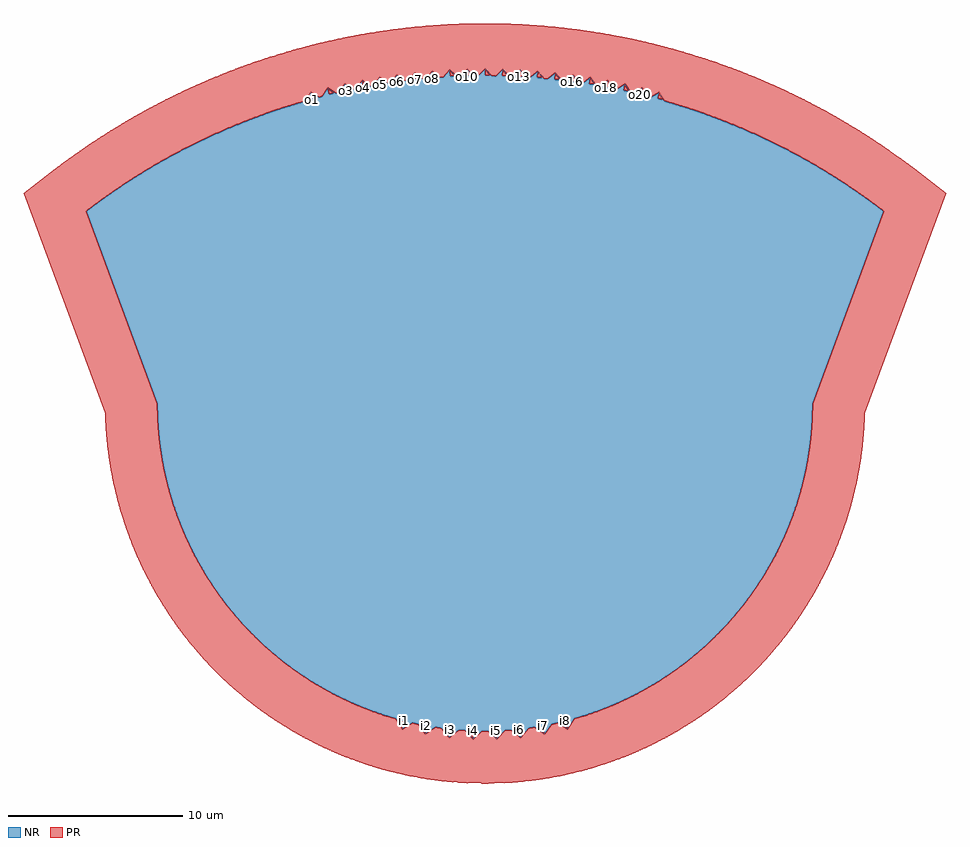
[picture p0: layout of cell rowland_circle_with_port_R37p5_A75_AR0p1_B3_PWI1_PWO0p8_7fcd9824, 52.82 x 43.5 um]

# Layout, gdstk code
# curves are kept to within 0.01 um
import gdstk
lib = gdstk.Library(unit=1e-6, precision=1e-09)
def P(c, l, *ps):  # polygons
    for p in ps: c.add(gdstk.Polygon(p, *l))
PR = (60, 0)
NR = (61, 0)

rowland_circle_with_port = lib.new_cell('rowland_circle_with_port_R37p5_A75_AR0p1_B3_PWI1_PWO0p8_7fcd9824')
P(rowland_circle_with_port, PR, [(4.732,0.175),(4.275,0.451),(4.638,0.543)],
  [(-3.397,-0.115),(-3.699,0.326),(-3.33,0.259)],
  [(0.683,-0.406),(0.295,-0.04),(0.669,-0.026)],
  [(-3.996,37.323),(-4.029,37.626),(-3.698,37.355)],
  [(-0.683,-0.406),(-1.044,-0.013),(-0.669,-0.026)],
  [(-4.732,0.175),(-5.001,0.636),(-4.638,0.543)],
  [(1.301,37.515),(1.001,37.523),(1.009,37.827)],
  [(3.397,-0.115),(2.961,0.193),(3.33,0.259)],
  [(2.045,-0.309),(1.632,0.029),(2.005,0.069)],
  [(-2.045,-0.309),(-2.378,0.109),(-2.005,0.069)],
  [(2.301,37.467),(2.001,37.483),(2.017,37.787)],
  [(-9.892,36.21),(-9.972,36.503),(-9.602,36.289)],
  [(10.181,36.131),(9.892,36.21),(9.972,36.503)],
  [(-8.923,36.461),(-8.995,36.756),(-8.631,36.532)],
  [(-6.966,36.885),(-7.023,37.183),(-6.672,36.94)],
  [(9.214,36.389),(8.923,36.461),(8.995,36.756)],
  [(-2.001,37.483),(-2.017,37.787),(-1.701,37.499)],
  [(-7.947,36.686),(-8.012,36.983),(-7.654,36.749)],
  [(8.241,36.622),(7.947,36.686),(8.012,36.983)],
  [(7.261,36.829),(6.966,36.885),(7.023,37.183)],
  [(-5.98,37.057),(-6.029,37.357),(-5.684,37.105)],
  [(6.277,37.009),(5.98,37.057),(6.029,37.357)],
  [(-4.99,37.203),(-5.031,37.505),(-4.693,37.243)],
  [(5.288,37.164),(4.99,37.203),(5.031,37.505)],
  [(4.295,37.291),(3.996,37.323),(4.029,37.626)],
  [(-3,37.417),(-3.024,37.72),(-2.701,37.441)],
  [(3.299,37.393),(3,37.417),(3.024,37.72)],
  [(-1.001,37.523),(-1.009,37.827),(-0.701,37.531)],
  [(0,37.537),(0,37.841),(0.3,37.537)],
  [(-0.176,-3),(-1.424,-2.954),(-2.476,-2.859),(-3.725,-2.679),(-4.978,-2.424),(-6.224,-2.092),(-7.339,-1.725),(-8.51,-1.267),(-9.679,-0.729),(-10.759,-0.153),(-11.752,0.448),(-12.853,1.202),(-13.629,1.798),(-14.6,2.628),(-15.486,3.478),(-16.32,4.371),(-17.135,5.354),(-17.722,6.14),(-18.253,6.922),(-18.674,7.598),(-19.114,8.369),(-19.479,9.071),(-19.836,9.827),(-20.155,10.572),(-20.475,11.411),(-20.771,12.295),(-21,13.085),(-21.174,13.772),(-21.361,14.651),(-21.526,15.631),(-21.62,16.37),(-21.699,17.246),(-21.744,18.194),(-26.41,30.781),(-24.383,32.338),(-23.285,33.138),(-21.886,34.078),(-20.556,34.896),(-19.746,35.361),(-19.001,35.766),(-17.508,36.52),(-15.946,37.229),(-14.285,37.897),(0,37.897),(-0.399,37.498),(-0.601,37.495),(-1.01,37.883),(-1.399,37.474),(-1.601,37.466),(-2.02,37.843),(-2.397,37.423),(-2.599,37.41),(-3.029,37.775),(-3.394,37.346),(-3.594,37.327),(-4.035,37.681),(-4.389,37.242),(-4.589,37.218),(-5.038,37.56),(-5.38,37.112),(-5.581,37.082),(-6.038,37.413),(-6.368,36.956),(-6.568,36.92),(-7.033,37.238),(-7.351,36.772),(-7.55,36.732),(-8.024,37.038),(-8.329,36.563),(-8.526,36.518),(-9.008,36.81),(-9.301,36.328),(-9.497,36.278),(-9.987,36.557),(-10.266,36.067),(-11.152,35.804),(-12.271,35.436),(-13.133,35.125),(-13.987,34.794),(-15.013,34.364),(-15.848,33.987),(-16.791,33.531),(-17.605,33.111),(-19.033,32.311),(-20.259,31.557),(-21.563,30.681),(-22.829,29.751),(-18.75,18.75),(-18.734,17.965),(-18.679,17.116),(-18.577,16.205),(-18.448,15.397),(-18.277,14.564),(-18.077,13.771),(-17.802,12.863),(-17.54,12.122),(-17.169,11.213),(-16.795,10.413),(-16.415,9.688),(-15.953,8.897),(-15.508,8.211),(-14.955,7.44),(-14.447,6.798),(-13.735,5.986),(-12.907,5.149),(-12.4,4.685),(-11.952,4.303),(-11.074,3.619),(-10.185,3.007),(-9.545,2.611),(-8.947,2.272),(-8.337,1.955),(-7.716,1.661),(-7.024,1.365),(-6.321,1.097),(-5.106,0.708),(-4.749,0.107),(-4.147,0.464),(-3.809,0.391),(-3.41,-0.184),(-2.835,0.216),(-2.492,0.166),(-2.053,-0.378),(-1.509,0.06),(-1.161,0.036),(-0.685,-0.476),(-0.173,0.001),(0.173,0.001),(0.685,-0.476),(1.161,0.036),(1.509,0.06),(2.053,-0.378),(2.492,0.166),(2.835,0.216),(3.41,-0.184),(3.809,0.391),(4.147,0.464),(4.749,0.107),(5.106,0.708),(6.042,1),(6.994,1.353),(7.835,1.715),(8.571,2.073),(9.403,2.528),(10.185,3.007),(10.862,3.466),(11.621,4.035),(12.252,4.556),(12.907,5.149),(13.488,5.725),(14.065,6.35),(14.613,7.001),(15.092,7.623),(15.563,8.292),(15.953,8.897),(16.271,9.432),(16.571,9.976),(17.035,10.915),(17.397,11.756),(17.802,12.863),(18.015,13.55),(18.217,14.309),(18.374,15.012),(18.504,15.72),(18.622,16.562),(18.69,17.246),(18.734,17.965),(18.75,18.75),(22.829,29.751),(22.095,30.3),(21.294,30.868),(20.534,31.379),(19.761,31.871),(19.033,32.311),(18.066,32.862),(17.374,33.233),(16.498,33.676),(15.013,34.364),(13.378,35.033),(11.837,35.583),(10.266,36.067),(9.987,36.557),(9.497,36.278),(9.301,36.328),(9.008,36.81),(8.526,36.518),(8.329,36.563),(8.024,37.038),(7.55,36.732),(7.351,36.772),(7.033,37.238),(6.568,36.92),(6.368,36.956),(6.038,37.413),(5.581,37.082),(5.38,37.112),(5.038,37.56),(4.589,37.218),(4.389,37.242),(4.035,37.681),(3.594,37.327),(3.394,37.346),(3.029,37.775),(2.599,37.41),(2.397,37.423),(2.02,37.843),(1.601,37.466),(1.399,37.474),(1.01,37.883),(0.601,37.495),(0.399,37.498),(0,37.897),(-14.285,37.897),(-13.377,38.228),(-12.233,38.609),(-11.37,38.872),(-10.276,39.175),(-9.035,39.48),(-8.202,39.661),(-7.236,39.849),(-6.215,40.021),(-5.219,40.163),(-4.219,40.28),(-3.324,40.364),(-2.123,40.445),(-1.074,40.486),(0.154,40.5),(1.073,40.486),(2.253,40.438),(3.828,40.319),(5.442,40.133),(7.102,39.873),(8.767,39.54),(10.143,39.21),(11.773,38.752),(13.377,38.228),(14.923,37.651),(16.405,37.029),(17.744,36.406),(19.25,35.633),(20.732,34.792),(22.172,33.893),(23.285,33.138),(24.383,32.338),(26.41,30.781),(21.743,18.194),(21.699,17.246),(21.62,16.37),(21.526,15.631),(21.364,14.667),(21.174,13.772),(20.974,12.99),(20.771,12.295),(20.43,11.288),(20.118,10.481),(19.771,9.684),(19.37,8.855),(18.903,7.991),(18.484,7.286),(18.038,6.596),(17.548,5.897),(16.993,5.172),(16.32,4.371),(15.486,3.478),(14.975,2.975),(14.527,2.562),(13.578,1.757),(12.61,1.028),(11.575,0.335),(10.983,-0.024),(10.381,-0.364),(9.367,-0.881),(8.269,-1.368),(7.097,-1.81),(5.886,-2.189),(4.742,-2.477),(3.538,-2.711),(2.333,-2.875),(1.735,-2.932),(1.052,-2.975)])
P(rowland_circle_with_port, NR, [(-0.685,-0.476),(-1.115,-0.013),(-1.044,-0.013),(-0.683,-0.406),(-0.669,-0.026),(-1.115,-0.013),(-1.161,0.036),(-1.509,0.06),(-2.053,-0.378),(-2.446,0.109),(-2.378,0.109),(-2.045,-0.309),(-2.005,0.069),(2.005,0.069),(1.632,0.029),(2.045,-0.309),(2.005,0.069),(-2.005,0.069),(-2.446,0.109),(-2.492,0.166),(-2.835,0.216),(-3.41,-0.184),(-3.764,0.326),(-3.699,0.326),(-3.397,-0.115),(-3.33,0.259),(3.33,0.259),(2.961,0.193),(3.397,-0.115),(3.33,0.259),(-3.33,0.259),(-3.764,0.326),(-3.809,0.391),(-4.147,0.464),(-4.749,0.107),(-5.063,0.636),(-5.001,0.636),(-4.732,0.175),(-4.638,0.543),(4.638,0.543),(4.275,0.451),(4.732,0.175),(4.638,0.543),(-4.638,0.543),(-5.001,0.636),(-5.063,0.636),(-5.106,0.708),(-5.887,0.948),(-6.628,1.21),(-7.356,1.503),(-8.043,1.812),(-8.774,2.179),(-9.46,2.561),(-10.074,2.936),(-10.701,3.353),(-11.232,3.736),(-11.876,4.24),(-12.4,4.685),(-13.025,5.262),(-13.601,5.843),(-14.065,6.35),(-14.613,7.001),(-15.131,7.676),(-15.563,8.292),(-15.884,8.786),(-16.222,9.347),(-16.571,9.976),(-16.867,10.56),(-17.169,11.213),(-17.397,11.756),(-17.675,12.491),(-17.931,13.268),(-18.145,14.024),(-18.327,14.788),(-18.471,15.526),(-18.59,16.303),(-18.679,17.116),(-18.734,17.965),(-18.75,18.75),(-22.829,29.751),(-22.095,30.3),(-21.294,30.868),(-20.534,31.379),(-19.761,31.871),(-19.033,32.311),(-18.066,32.862),(-17.374,33.233),(-16.498,33.676),(-15.013,34.364),(-13.378,35.033),(-11.837,35.583),(-10.266,36.067),(-10.018,36.503),(-9.972,36.503),(-9.892,36.21),(-9.602,36.289),(-9.972,36.503),(-10.018,36.503),(-9.987,36.557),(-9.497,36.278),(-9.301,36.328),(-9.041,36.756),(-8.995,36.756),(-8.923,36.461),(-8.631,36.532),(-8.995,36.756),(-9.041,36.756),(-9.008,36.81),(-8.526,36.518),(-8.329,36.563),(-8.059,36.983),(-8.012,36.983),(-7.947,36.686),(-7.654,36.749),(-8.012,36.983),(-8.059,36.983),(-8.024,37.038),(-7.55,36.732),(-7.351,36.772),(-7.071,37.183),(-7.023,37.183),(-6.966,36.885),(-6.672,36.94),(-7.023,37.183),(-7.071,37.183),(-7.033,37.238),(-6.568,36.92),(-6.368,36.956),(-6.078,37.357),(-6.029,37.357),(-5.98,37.057),(-5.684,37.105),(-6.029,37.357),(-6.078,37.357),(-6.038,37.413),(-5.581,37.082),(-5.38,37.112),(-5.08,37.505),(-5.031,37.505),(-4.99,37.203),(-4.693,37.243),(-5.031,37.505),(-5.08,37.505),(-5.038,37.56),(-4.589,37.218),(-4.389,37.242),(-4.079,37.626),(-4.029,37.626),(-3.996,37.323),(-3.698,37.355),(-4.029,37.626),(-4.079,37.626),(-4.035,37.681),(-3.595,37.327),(-3.394,37.346),(-3.076,37.72),(-3.024,37.72),(-3,37.417),(-2.701,37.441),(-3.024,37.72),(-3.076,37.72),(-3.029,37.775),(-2.599,37.41),(-2.397,37.423),(-2.07,37.787),(-2.017,37.787),(-2.001,37.483),(-1.701,37.499),(-2.017,37.787),(-2.07,37.787),(-2.02,37.843),(-1.601,37.466),(-1.399,37.474),(-1.063,37.827),(-1.009,37.827),(-1.001,37.523),(-0.701,37.531),(-1.009,37.827),(-1.063,37.827),(-1.01,37.883),(-0.601,37.495),(-0.399,37.498),(-0.056,37.841),(0,37.841),(0,37.537),(0.3,37.537),(0,37.841),(-0.056,37.841),(0,37.897),(0.399,37.498),(0.601,37.495),(0.951,37.827),(1.009,37.827),(1.001,37.523),(1.301,37.515),(1.009,37.827),(0.951,37.827),(1.01,37.883),(1.399,37.474),(1.601,37.466),(1.958,37.787),(2.017,37.787),(2.001,37.483),(2.301,37.467),(2.017,37.787),(1.958,37.787),(2.02,37.843),(2.397,37.423),(2.599,37.41),(2.964,37.72),(3.024,37.72),(3,37.417),(3.299,37.393),(3.024,37.72),(2.964,37.72),(3.029,37.775),(3.394,37.346),(3.594,37.327),(3.967,37.626),(4.029,37.626),(3.996,37.323),(4.295,37.291),(4.029,37.626),(3.967,37.626),(4.035,37.681),(4.389,37.242),(4.589,37.218),(4.966,37.505),(5.031,37.505),(4.99,37.203),(5.288,37.164),(5.031,37.505),(4.966,37.505),(5.038,37.56),(5.38,37.112),(5.581,37.082),(5.961,37.357),(6.029,37.357),(5.98,37.057),(6.277,37.009),(6.029,37.357),(5.961,37.357),(6.038,37.413),(6.368,36.956),(6.568,36.92),(6.953,37.183),(7.023,37.183),(6.966,36.885),(7.261,36.829),(7.023,37.183),(6.953,37.183),(7.033,37.238),(7.351,36.772),(7.55,36.732),(7.939,36.983),(8.012,36.983),(7.947,36.686),(8.241,36.622),(8.012,36.983),(7.939,36.983),(8.024,37.038),(8.329,36.563),(8.526,36.518),(8.919,36.756),(8.995,36.756),(8.923,36.461),(9.214,36.389),(8.995,36.756),(8.919,36.756),(9.008,36.81),(9.301,36.328),(9.497,36.278),(9.892,36.503),(9.972,36.503),(9.892,36.21),(10.181,36.131),(9.972,36.503),(9.892,36.503),(9.987,36.557),(10.266,36.067),(11.152,35.804),(12.271,35.436),(13.133,35.125),(13.987,34.794),(15.013,34.364),(15.848,33.987),(16.791,33.531),(17.605,33.111),(19.033,32.311),(20.259,31.557),(21.563,30.681),(22.829,29.751),(18.75,18.75),(18.734,17.965),(18.679,17.116),(18.59,16.303),(18.471,15.526),(18.306,14.692),(18.12,13.929),(17.902,13.174),(17.653,12.429),(17.385,11.726),(17.089,11.034),(16.795,10.413),(16.431,9.717),(16.089,9.121),(15.653,8.428),(15.246,7.835),(14.775,7.206),(14.258,6.573),(13.89,6.155),(13.488,5.725),(12.907,5.149),(12.4,4.685),(11.876,4.24),(11.31,3.795),(10.862,3.466),(10.185,3.007),(9.46,2.561),(8.774,2.179),(8.043,1.812),(7.356,1.503),(6.628,1.21),(5.887,0.948),(5.106,0.708),(4.749,0.107),(4.147,0.464),(3.809,0.391),(3.41,-0.184),(2.835,0.216),(2.492,0.166),(2.053,-0.378),(1.509,0.06),(1.161,0.036),(0.685,-0.476),(0.202,-0.026),(0.669,-0.026),(0.295,-0.04),(0.683,-0.406),(0.669,-0.026),(0.202,-0.026),(0.173,0.001),(-0.173,0.001)])
rowland_circle_with_port.add(gdstk.Label('i1', (-4.626,0.592), layer=61, texttype=0))
rowland_circle_with_port.add(gdstk.Label('o16', (4.985,37.164), layer=61, texttype=0))
rowland_circle_with_port.add(gdstk.Label('i6', (1.999,0.119), layer=61, texttype=0))
rowland_circle_with_port.add(gdstk.Label('i2', (-3.321,0.309), layer=61, texttype=0))
rowland_circle_with_port.add(gdstk.Label('o13', (1.999,37.443), layer=61, texttype=0))
rowland_circle_with_port.add(gdstk.Label('i3', (-1.999,0.119), layer=61, texttype=0))
rowland_circle_with_port.add(gdstk.Label('i7', (3.321,0.309), layer=61, texttype=0))
rowland_circle_with_port.add(gdstk.Label('i8', (4.626,0.592), layer=61, texttype=0))
rowland_circle_with_port.add(gdstk.Label('i4', (-0.668,0.024), layer=61, texttype=0))
rowland_circle_with_port.add(gdstk.Label('i5', (0.668,0.024), layer=61, texttype=0))
rowland_circle_with_port.add(gdstk.Label('o1', (-9.881,36.171), layer=61, texttype=0))
rowland_circle_with_port.add(gdstk.Label('o2', (-8.913,36.422), layer=61, texttype=0))
rowland_circle_with_port.add(gdstk.Label('o3', (-7.939,36.647), layer=61, texttype=0))
rowland_circle_with_port.add(gdstk.Label('o4', (-6.959,36.845), layer=61, texttype=0))
rowland_circle_with_port.add(gdstk.Label('o5', (-5.974,37.018), layer=61, texttype=0))
rowland_circle_with_port.add(gdstk.Label('o6', (-4.985,37.164), layer=61, texttype=0))
rowland_circle_with_port.add(gdstk.Label('o7', (-3.992,37.284), layer=61, texttype=0))
rowland_circle_with_port.add(gdstk.Label('o10', (-1,37.483), layer=61, texttype=0))
rowland_circle_with_port.add(gdstk.Label('o8', (-2.997,37.377), layer=61, texttype=0))
rowland_circle_with_port.add(gdstk.Label('o9', (-1.999,37.443), layer=61, texttype=0))
rowland_circle_with_port.add(gdstk.Label('o11', (0,37.497), layer=61, texttype=0))
rowland_circle_with_port.add(gdstk.Label('o12', (1,37.483), layer=61, texttype=0))
rowland_circle_with_port.add(gdstk.Label('o14', (2.997,37.377), layer=61, texttype=0))
rowland_circle_with_port.add(gdstk.Label('o15', (3.992,37.284), layer=61, texttype=0))
rowland_circle_with_port.add(gdstk.Label('o17', (5.974,37.018), layer=61, texttype=0))
rowland_circle_with_port.add(gdstk.Label('o18', (6.959,36.845), layer=61, texttype=0))
rowland_circle_with_port.add(gdstk.Label('o19', (7.939,36.647), layer=61, texttype=0))
rowland_circle_with_port.add(gdstk.Label('o20', (8.913,36.422), layer=61, texttype=0))
rowland_circle_with_port.add(gdstk.Label('o21', (9.881,36.171), layer=61, texttype=0))

lib.write_gds('rowland_circle_with_port_R37p5_A75_AR0p1_B3_PWI1_PWO0p8_7fcd9824.gds')
